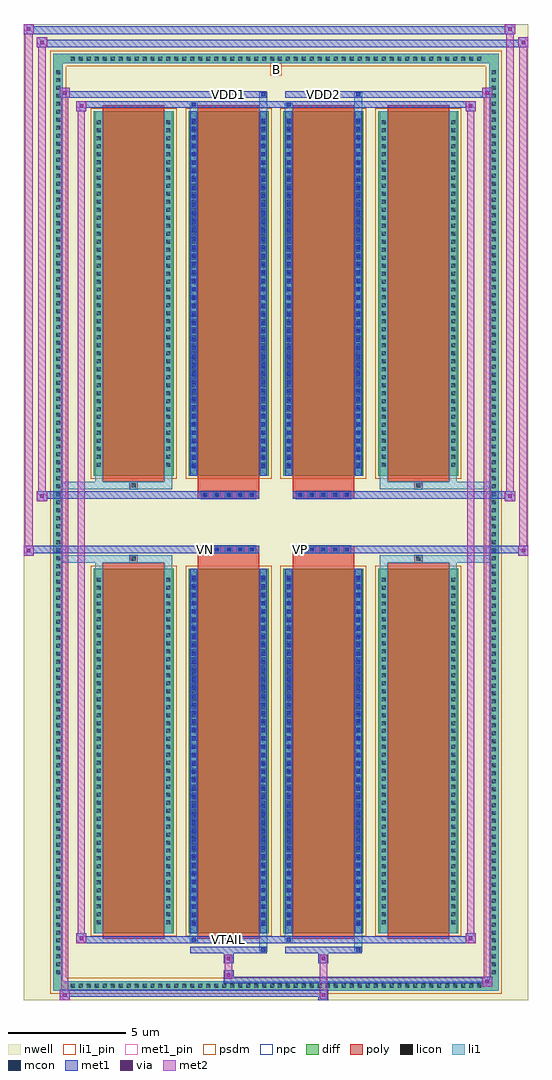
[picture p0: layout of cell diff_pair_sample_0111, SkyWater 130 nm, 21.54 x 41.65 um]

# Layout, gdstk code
import gdstk
lib = gdstk.Library(unit=1e-6, precision=5e-09)
def R(c, l, rs):  # rectangles x0, y0, x1, y1
    for r in rs: c.add(gdstk.rectangle(r[:2], r[2:], *l))
def A(c, l, x, y, w, h, nx, ny, dx, dy):  # array of equal rectangles
    R(c, l, [(x+i*dx, y+j*dy, x+i*dx+w, y+j*dy+h) for i in range(nx) for j in range(ny)])
def P(c, l, *ps):  # polygons
    for p in ps: c.add(gdstk.Polygon(p, *l))
nwell = (64, 20)
diff = (65, 20)
poly = (66, 20)
licon = (66, 44)
li1_pin = (67, 16)
li1 = (67, 20)
mcon = (67, 44)
met1_pin = (68, 16)
met1 = (68, 20)
via = (68, 44)
met2 = (69, 20)
psdm = (94, 20)
npc = (95, 20)

diff_pair_sample_0111 = lib.new_cell('diff_pair_sample_0111')
R(diff_pair_sample_0111, nwell, [(-10.77,-20.39,10.77,21.26), (-8.09,-18.58,-0.01,-0.8), (0.01,-18.58,8.09,-0.8), (-8.09,0.8,-0.01,18.58), (0.01,0.8,8.09,18.58)])
A(diff_pair_sample_0111, diff, -8.875, -19.99, 0.41, 0.41, 52, 2, 0.34, 39.57)
A(diff_pair_sample_0111, diff, -9.5, -19.415, 0.41, 0.41, 1, 114, 0, 0.34)
A(diff_pair_sample_0111, diff, 9.09, -19.415, 0.41, 0.41, 1, 114, 0, 0.34)
A(diff_pair_sample_0111, diff, -7.78, -17.535, 3.41, 15.55, 4, 2, 4.05, 19.52)
R(diff_pair_sample_0111, diff, [(-8.875,-19.99,8.875,-19.58), (-9.5,-19.415,-9.09,19.415), (9.09,-19.415,9.5,19.415), (-8.875,19.58,8.875,19.99)])
P(diff_pair_sample_0111, diff, [(9.5,19.99),(-9.5,19.99),(-9.5,-19.58),(-9.09,-19.58),(-9.09,19.58),(9.09,19.58),(9.09,-19.58),(-9.09,-19.58),(-9.5,-19.58),(-9.5,-19.99),(9.5,-19.99)])
A(diff_pair_sample_0111, poly, -7.39, -17.785, 2.63, 16.05, 4, 2, 4.05, 19.52)
A(diff_pair_sample_0111, poly, -3.19, -1.33, 0.33, 0.33, 5, 2, 0.5, 2.33)
A(diff_pair_sample_0111, poly, 0.86, -1.33, 0.33, 0.33, 5, 2, 0.5, 2.33)
R(diff_pair_sample_0111, poly, [(-6.24,-1.735,-5.91,-1.405), (-6.24,-1.735,-5.91,-1.405), (-3.34,-1.735,-0.71,-1.33), (0.71,-1.735,3.34,-1.33), (5.91,-1.735,6.24,-1.405), (5.91,-1.735,6.24,-1.405), (-3.34,-1.33,-0.71,-1), (0.71,-1.33,3.34,-1), (-3.34,1,-0.71,1.33), (0.71,1,3.34,1.33), (-3.34,1.33,-0.71,1.735), (0.71,1.33,3.34,1.735), (-6.24,1.405,-5.91,1.735), (-6.24,1.405,-5.91,1.735), (5.91,1.405,6.24,1.735), (5.91,1.405,6.24,1.735)])
A(diff_pair_sample_0111, licon, -8.755, -19.87, 0.17, 0.17, 52, 2, 0.34, 39.57)
A(diff_pair_sample_0111, licon, -9.38, -19.295, 0.17, 0.17, 1, 114, 0, 0.34)
A(diff_pair_sample_0111, licon, 9.21, -19.295, 0.17, 0.17, 1, 114, 0, 0.34)
A(diff_pair_sample_0111, licon, -7.64, -17.155, 0.17, 0.17, 1, 44, 0, 0.34)
A(diff_pair_sample_0111, licon, -4.68, -17.155, 0.17, 0.17, 1, 44, 0, 0.34)
A(diff_pair_sample_0111, licon, -3.59, -17.155, 0.17, 0.17, 1, 44, 0, 0.34)
A(diff_pair_sample_0111, licon, -0.63, -17.155, 0.17, 0.17, 1, 44, 0, 0.34)
A(diff_pair_sample_0111, licon, 0.46, -17.155, 0.17, 0.17, 1, 44, 0, 0.34)
A(diff_pair_sample_0111, licon, 3.42, -17.155, 0.17, 0.17, 1, 44, 0, 0.34)
A(diff_pair_sample_0111, licon, 4.51, -17.155, 0.17, 0.17, 1, 44, 0, 0.34)
A(diff_pair_sample_0111, licon, 7.47, -17.155, 0.17, 0.17, 1, 44, 0, 0.34)
A(diff_pair_sample_0111, licon, -3.11, -1.25, 0.17, 0.17, 5, 2, 0.5, 2.33)
A(diff_pair_sample_0111, licon, 0.94, -1.25, 0.17, 0.17, 5, 2, 0.5, 2.33)
A(diff_pair_sample_0111, licon, -7.64, 2.365, 0.17, 0.17, 1, 44, 0, 0.34)
A(diff_pair_sample_0111, licon, -4.68, 2.365, 0.17, 0.17, 1, 44, 0, 0.34)
A(diff_pair_sample_0111, licon, -3.59, 2.365, 0.17, 0.17, 1, 44, 0, 0.34)
A(diff_pair_sample_0111, licon, -0.63, 2.365, 0.17, 0.17, 1, 44, 0, 0.34)
A(diff_pair_sample_0111, licon, 0.46, 2.365, 0.17, 0.17, 1, 44, 0, 0.34)
A(diff_pair_sample_0111, licon, 3.42, 2.365, 0.17, 0.17, 1, 44, 0, 0.34)
A(diff_pair_sample_0111, licon, 4.51, 2.365, 0.17, 0.17, 1, 44, 0, 0.34)
A(diff_pair_sample_0111, licon, 7.47, 2.365, 0.17, 0.17, 1, 44, 0, 0.34)
R(diff_pair_sample_0111, licon, [(-6.16,-1.655,-5.99,-1.485), (5.99,-1.655,6.16,-1.485), (-6.16,1.485,-5.99,1.655), (5.99,1.485,6.16,1.655)])
R(diff_pair_sample_0111, li1_pin, [(-0.25,19.08,0.25,19.58)])
A(diff_pair_sample_0111, li1, -8.835, -19.95, 0.33, 0.33, 52, 2, 0.34, 39.57)
A(diff_pair_sample_0111, li1, -9.46, -19.375, 0.33, 0.33, 1, 114, 0, 0.34)
A(diff_pair_sample_0111, li1, 9.13, -19.375, 0.33, 0.33, 1, 114, 0, 0.34)
A(diff_pair_sample_0111, li1, -7.72, -17.235, 0.33, 0.33, 1, 44, 0, 0.34)
A(diff_pair_sample_0111, li1, -4.76, -17.235, 0.33, 0.33, 1, 44, 0, 0.34)
A(diff_pair_sample_0111, li1, -3.67, -17.235, 0.33, 0.33, 1, 44, 0, 0.34)
A(diff_pair_sample_0111, li1, -0.71, -17.235, 0.33, 0.33, 1, 44, 0, 0.34)
A(diff_pair_sample_0111, li1, 0.38, -17.235, 0.33, 0.33, 1, 44, 0, 0.34)
A(diff_pair_sample_0111, li1, 3.34, -17.235, 0.33, 0.33, 1, 44, 0, 0.34)
A(diff_pair_sample_0111, li1, 4.43, -17.235, 0.33, 0.33, 1, 44, 0, 0.34)
A(diff_pair_sample_0111, li1, 7.39, -17.235, 0.33, 0.33, 1, 44, 0, 0.34)
A(diff_pair_sample_0111, li1, -3.59, -17.225, 0.17, 0.17, 1, 42, 0, 0.36)
A(diff_pair_sample_0111, li1, -0.63, -17.225, 0.17, 0.17, 1, 42, 0, 0.36)
A(diff_pair_sample_0111, li1, 0.46, -17.225, 0.17, 0.17, 1, 42, 0, 0.36)
A(diff_pair_sample_0111, li1, 3.42, -17.225, 0.17, 0.17, 1, 42, 0, 0.36)
A(diff_pair_sample_0111, li1, -3.19, -1.33, 0.33, 0.33, 5, 2, 0.5, 2.33)
A(diff_pair_sample_0111, li1, 0.86, -1.33, 0.33, 0.33, 5, 2, 0.5, 2.33)
A(diff_pair_sample_0111, li1, -7.72, 2.285, 0.33, 0.33, 1, 44, 0, 0.34)
A(diff_pair_sample_0111, li1, -4.76, 2.285, 0.33, 0.33, 1, 44, 0, 0.34)
A(diff_pair_sample_0111, li1, -3.67, 2.285, 0.33, 0.33, 1, 44, 0, 0.34)
A(diff_pair_sample_0111, li1, -0.71, 2.285, 0.33, 0.33, 1, 44, 0, 0.34)
A(diff_pair_sample_0111, li1, 0.38, 2.285, 0.33, 0.33, 1, 44, 0, 0.34)
A(diff_pair_sample_0111, li1, 3.34, 2.285, 0.33, 0.33, 1, 44, 0, 0.34)
A(diff_pair_sample_0111, li1, 4.43, 2.285, 0.33, 0.33, 1, 44, 0, 0.34)
A(diff_pair_sample_0111, li1, 7.39, 2.285, 0.33, 0.33, 1, 44, 0, 0.34)
A(diff_pair_sample_0111, li1, -3.59, 2.295, 0.17, 0.17, 1, 42, 0, 0.36)
A(diff_pair_sample_0111, li1, -0.63, 2.295, 0.17, 0.17, 1, 42, 0, 0.36)
A(diff_pair_sample_0111, li1, 0.46, 2.295, 0.17, 0.17, 1, 42, 0, 0.36)
A(diff_pair_sample_0111, li1, 3.42, 2.295, 0.17, 0.17, 1, 42, 0, 0.36)
R(diff_pair_sample_0111, li1, [(-9.5,-19.99,-9.09,-19.58), (-9.5,-19.99,-9.09,-19.58), (-9.09,-19.99,9.09,-19.58), (9.09,-19.99,9.5,-19.58), (9.09,-19.99,9.5,-19.58), (-9.5,-19.58,-9.09,19.58), (9.09,-19.58,9.5,19.58), (-0.71,-18.34,-0.38,-17.535), (-0.63,-18.34,-0.46,-18.17), (3.34,-18.34,3.67,-17.535), (3.42,-18.34,3.59,-18.17), (-3.67,-17.91,-3.34,-17.535), (-3.59,-17.91,-3.42,-17.74), (0.38,-17.91,0.71,-17.535), (0.46,-17.91,0.63,-17.74), (-7.72,-17.535,-7.39,-1.985), (-4.76,-17.535,-4.43,-1.985), (-3.67,-17.535,-3.34,-1.985), (-0.71,-17.535,-0.38,-1.985), (0.38,-17.535,0.71,-1.985), (3.34,-17.535,3.67,-1.985), (4.43,-17.535,4.76,-1.985), (7.39,-17.535,7.72,-1.985), (-3.59,-17.225,-3.42,-2.295), (-0.63,-17.225,-0.46,-2.295), (0.46,-17.225,0.63,-2.295), (3.42,-17.225,3.59,-2.295), (-7.72,-1.985,-7.39,-1.405), (-4.76,-1.985,-4.43,-1.405), (4.43,-1.985,4.76,-1.405), (7.39,-1.985,7.72,-1.405), (-9.5,-1.735,-6.24,-1.405), (-7.72,-1.735,-6.24,-1.405), (-6.24,-1.735,-5.91,-1.405), (-5.91,-1.735,-4.43,-1.405), (4.43,-1.735,5.91,-1.405), (5.91,-1.735,6.24,-1.405), (5.91,-1.735,9.5,-1.405), (6.24,-1.735,7.72,-1.405), (-9.5,1.405,-6.24,1.735), (-7.72,1.405,-6.24,1.735), (-7.72,1.405,-7.39,1.985), (-6.24,1.405,-5.91,1.735), (-5.91,1.405,-4.43,1.735), (-4.76,1.405,-4.43,1.985), (4.43,1.405,5.91,1.735), (4.43,1.405,4.76,1.985), (5.91,1.405,6.24,1.735), (5.91,1.405,9.5,1.735), (6.24,1.405,7.72,1.735), (7.39,1.405,7.72,1.985), (-7.72,1.985,-7.39,17.535), (-4.76,1.985,-4.43,17.535), (-3.67,1.985,-3.34,17.535), (-0.71,1.985,-0.38,17.535), (0.38,1.985,0.71,17.535), (3.34,1.985,3.67,17.535), (4.43,1.985,4.76,17.535), (7.39,1.985,7.72,17.535), (-3.59,2.295,-3.42,17.225), (-0.63,2.295,-0.46,17.225), (0.46,2.295,0.63,17.225), (3.42,2.295,3.59,17.225), (-3.67,17.535,-3.34,17.91), (-0.71,17.535,-0.38,18.34), (0.38,17.535,0.71,17.91), (3.34,17.535,3.67,18.34), (-3.59,17.74,-3.42,17.91), (0.46,17.74,0.63,17.91), (-0.63,18.17,-0.46,18.34), (3.42,18.17,3.59,18.34), (-9.5,19.58,-9.09,19.99), (-9.5,19.58,-9.09,19.99), (-9.09,19.58,9.09,19.99), (9.09,19.58,9.5,19.99), (9.09,19.58,9.5,19.99)])
A(diff_pair_sample_0111, mcon, -3.59, -17.225, 0.17, 0.17, 1, 42, 0, 0.36)
A(diff_pair_sample_0111, mcon, -0.63, -17.225, 0.17, 0.17, 1, 42, 0, 0.36)
A(diff_pair_sample_0111, mcon, 0.46, -17.225, 0.17, 0.17, 1, 42, 0, 0.36)
A(diff_pair_sample_0111, mcon, 3.42, -17.225, 0.17, 0.17, 1, 42, 0, 0.36)
A(diff_pair_sample_0111, mcon, -3.11, -1.25, 0.17, 0.17, 5, 2, 0.5, 2.33)
A(diff_pair_sample_0111, mcon, 0.94, -1.25, 0.17, 0.17, 5, 2, 0.5, 2.33)
A(diff_pair_sample_0111, mcon, -3.59, 2.295, 0.17, 0.17, 1, 42, 0, 0.36)
A(diff_pair_sample_0111, mcon, -0.63, 2.295, 0.17, 0.17, 1, 42, 0, 0.36)
A(diff_pair_sample_0111, mcon, 0.46, 2.295, 0.17, 0.17, 1, 42, 0, 0.36)
A(diff_pair_sample_0111, mcon, 3.42, 2.295, 0.17, 0.17, 1, 42, 0, 0.36)
R(diff_pair_sample_0111, mcon, [(-0.63,-18.34,-0.46,-18.17), (3.42,-18.34,3.59,-18.17), (-3.59,-17.91,-3.42,-17.74), (0.46,-17.91,0.63,-17.74), (-3.59,17.74,-3.42,17.91), (0.46,17.74,0.63,17.91), (-0.63,18.17,-0.46,18.34), (3.42,18.17,3.59,18.34)])
R(diff_pair_sample_0111, met1_pin, [(-2.16,-17.95,-1.89,-17.68), (-3.16,-1.29,-2.89,-1.02), (0.89,-1.29,1.16,-1.02), (-2.16,18.13,-1.89,18.4), (1.89,18.13,2.16,18.4)])
A(diff_pair_sample_0111, met1, -3.65, -17.285, 0.29, 0.29, 1, 42, 0, 0.36)
A(diff_pair_sample_0111, met1, -0.69, -17.285, 0.29, 0.29, 1, 42, 0, 0.36)
A(diff_pair_sample_0111, met1, 0.4, -17.285, 0.29, 0.29, 1, 42, 0, 0.36)
A(diff_pair_sample_0111, met1, 3.36, -17.285, 0.29, 0.29, 1, 42, 0, 0.36)
A(diff_pair_sample_0111, met1, -3.17, -1.31, 0.29, 0.29, 5, 2, 0.5, 2.33)
A(diff_pair_sample_0111, met1, 0.88, -1.31, 0.29, 0.29, 5, 2, 0.5, 2.33)
A(diff_pair_sample_0111, met1, -3.65, 2.235, 0.29, 0.29, 1, 42, 0, 0.36)
A(diff_pair_sample_0111, met1, -0.69, 2.235, 0.29, 0.29, 1, 42, 0, 0.36)
A(diff_pair_sample_0111, met1, 0.4, 2.235, 0.29, 0.29, 1, 42, 0, 0.36)
A(diff_pair_sample_0111, met1, 3.36, 2.235, 0.29, 0.29, 1, 42, 0, 0.36)
R(diff_pair_sample_0111, met1, [(-9.23,-20.39,-8.8,-19.96), (1.81,-20.39,2.24,-19.96), (-9.23,-20.25,2.24,-19.96), (8.8,-19.82,9.23,-19.39), (-2.24,-19.68,9.23,-19.39), (-2.24,-19.54,-1.81,-19.11), (-2.24,-18.83,-1.81,-18.4), (1.81,-18.83,2.24,-18.4), (-3.65,-18.4,-0.4,-18.11), (-0.69,-18.4,-0.4,-18.11), (0.4,-18.4,3.65,-18.11), (3.36,-18.4,3.65,-18.11), (-8.52,-17.97,-8.09,-17.54), (-8.52,-17.97,-3.65,-17.68), (-3.65,-17.97,-3.36,-17.68), (-3.65,-17.97,-0.4,-17.68), (-0.4,-17.97,0.4,-17.68), (0.4,-17.97,0.69,-17.68), (0.4,-17.97,3.65,-17.68), (3.65,-17.97,8.52,-17.68), (8.09,-17.97,8.52,-17.54), (-3.65,-17.535,-3.36,-1.985), (-0.69,-17.535,-0.4,-1.985), (0.4,-17.535,0.69,-1.985), (3.36,-17.535,3.65,-1.985), (-10.77,-1.43,-10.34,-1), (10.34,-1.43,10.77,-1), (-10.77,-1.33,-0.71,-1), (-3.34,-1.33,-0.71,-1), (0.71,-1.33,3.34,-1), (0.71,-1.33,10.77,-1), (-10.2,0.9,-9.77,1.33), (9.77,0.9,10.2,1.33), (-10.2,1,-3.34,1.33), (-3.34,1,-0.71,1.33), (0.71,1,3.34,1.33), (3.34,1,10.2,1.33), (-3.65,1.985,-3.36,17.535), (-0.69,1.985,-0.4,17.535), (0.4,1.985,0.69,17.535), (3.36,1.985,3.65,17.535), (-8.52,17.54,-8.09,17.97), (8.09,17.54,8.52,17.97), (-8.52,17.68,-3.65,17.97), (-3.65,17.68,-3.36,17.97), (-3.65,17.68,-0.4,17.97), (-0.4,17.68,0.4,17.97), (0.4,17.68,0.69,17.97), (0.4,17.68,3.65,17.97), (3.65,17.68,8.52,17.97), (-9.23,18.11,-8.8,18.54), (-9.23,18.11,-3.65,18.4), (-3.65,18.11,-0.4,18.4), (-0.69,18.11,-0.4,18.4), (0.4,18.11,3.65,18.4), (3.36,18.11,3.65,18.4), (3.65,18.11,9.23,18.4), (8.8,18.11,9.23,18.54), (-10.2,20.26,-9.77,20.69), (-10.2,20.26,-8.09,20.59), (-8.09,20.26,8.09,20.59), (8.09,20.26,10.77,20.59), (10.34,20.26,10.77,20.69), (-10.77,20.83,-10.34,21.26), (-10.77,20.83,-8.09,21.16), (-8.09,20.83,8.09,21.16), (8.09,20.83,10.2,21.16), (9.77,20.83,10.2,21.26)])
R(diff_pair_sample_0111, via, [(-9.09,-20.25,-8.94,-20.1), (1.95,-20.25,2.1,-20.1), (8.94,-19.68,9.09,-19.53), (-2.1,-19.4,-1.95,-19.25), (-2.1,-18.69,-1.95,-18.54), (1.95,-18.69,2.1,-18.54), (-8.38,-17.83,-8.23,-17.68), (8.23,-17.83,8.38,-17.68), (-10.63,-1.29,-10.48,-1.14), (10.48,-1.29,10.63,-1.14), (-10.06,1.04,-9.91,1.19), (9.91,1.04,10.06,1.19), (-8.38,17.68,-8.23,17.83), (8.23,17.68,8.38,17.83), (-9.09,18.25,-8.94,18.4), (8.94,18.25,9.09,18.4), (-10.06,20.4,-9.91,20.55), (10.48,20.4,10.63,20.55), (-10.63,20.97,-10.48,21.12), (9.91,20.97,10.06,21.12)])
R(diff_pair_sample_0111, met2, [(-9.23,-20.39,-8.8,-19.96), (-9.16,-20.39,-8.87,18.54), (-8.87,-20.39,-8.8,-19.96), (-9.18,-20.34,-8.85,-20.01), (1.86,-20.34,2.19,-20.01), (1.86,-20.01,2.19,-18.78), (8.8,-19.82,9.23,-19.39), (8.87,-19.82,9.16,18.54), (9.16,-19.82,9.23,-19.39), (8.85,-19.77,9.18,-19.44), (-2.19,-19.49,-1.86,-19.16), (-2.19,-19.16,-1.86,-18.78), (-2.19,-18.78,-1.86,-18.45), (1.86,-18.78,2.19,-18.45), (-8.52,-17.97,-8.09,-17.54), (-8.45,-17.97,-8.16,17.97), (-8.16,-17.97,-8.09,-17.54), (8.09,-17.97,8.52,-17.54), (8.16,-17.97,8.45,17.97), (8.45,-17.97,8.52,-17.54), (-8.47,-17.92,-8.14,-17.59), (8.14,-17.92,8.47,-17.59), (-10.77,-1.43,-10.34,-1), (-10.72,-1.43,-10.39,21.26), (-10.39,-1.43,-10.34,-1), (10.34,-1.43,10.77,-1), (10.39,-1.43,10.72,20.69), (10.72,-1.43,10.77,-1), (-10.72,-1.38,-10.39,-1.05), (10.39,-1.38,10.72,-1.05), (-10.2,0.9,-9.77,1.33), (-10.15,0.9,-9.82,20.69), (-9.82,0.9,-9.77,1.33), (9.77,0.9,10.2,1.33), (9.82,0.9,10.15,21.26), (10.15,0.9,10.2,1.33), (-10.15,0.95,-9.82,1.28), (9.82,0.95,10.15,1.28), (-8.52,17.54,-8.09,17.97), (-8.16,17.54,-8.09,17.97), (8.09,17.54,8.52,17.97), (8.45,17.54,8.52,17.97), (-8.47,17.59,-8.14,17.92), (8.14,17.59,8.47,17.92), (-9.23,18.11,-8.8,18.54), (-8.87,18.11,-8.8,18.54), (8.8,18.11,9.23,18.54), (9.16,18.11,9.23,18.54), (-9.18,18.16,-8.85,18.49), (8.85,18.16,9.18,18.49), (-10.2,20.26,-9.77,20.69), (-9.82,20.26,-9.77,20.69), (10.34,20.26,10.77,20.69), (10.72,20.26,10.77,20.69), (-10.15,20.31,-9.82,20.64), (10.39,20.31,10.72,20.64), (-10.77,20.83,-10.34,21.26), (-10.39,20.83,-10.34,21.26), (9.77,20.83,10.2,21.26), (10.15,20.83,10.2,21.26), (-10.72,20.88,-10.39,21.21), (9.82,20.88,10.15,21.21)])
A(diff_pair_sample_0111, psdm, -7.91, -17.665, 3.67, 15.81, 4, 2, 4.05, 19.52)
P(diff_pair_sample_0111, psdm, [(9.63,20.12),(-9.63,20.12),(-9.63,-19.45),(-8.96,-19.45),(-8.96,19.45),(8.96,19.45),(8.96,-19.45),(-8.96,-19.45),(-9.63,-19.45),(-9.63,-20.12),(9.63,-20.12)])
A(diff_pair_sample_0111, npc, -3.21, -1.35, 0.37, 0.37, 5, 2, 0.5, 2.33)
A(diff_pair_sample_0111, npc, 0.84, -1.35, 0.37, 0.37, 5, 2, 0.5, 2.33)
R(diff_pair_sample_0111, npc, [(-6.26,-1.755,-5.89,-1.385), (5.89,-1.755,6.26,-1.385), (-3.21,-1.35,-2.34,-0.98), (-3.21,-1.35,-2.34,-0.98), (-2.71,-1.35,-1.84,-0.98), (-2.71,-1.35,-1.84,-0.98), (-2.21,-1.35,-1.34,-0.98), (-2.21,-1.35,-1.34,-0.98), (-1.71,-1.35,-0.84,-0.98), (-1.71,-1.35,-0.84,-0.98), (0.84,-1.35,1.71,-0.98), (0.84,-1.35,1.71,-0.98), (1.34,-1.35,2.21,-0.98), (1.34,-1.35,2.21,-0.98), (1.84,-1.35,2.71,-0.98), (1.84,-1.35,2.71,-0.98), (2.34,-1.35,3.21,-0.98), (2.34,-1.35,3.21,-0.98), (-3.21,0.98,-2.34,1.35), (-3.21,0.98,-2.34,1.35), (-2.71,0.98,-1.84,1.35), (-2.71,0.98,-1.84,1.35), (-2.21,0.98,-1.34,1.35), (-2.21,0.98,-1.34,1.35), (-1.71,0.98,-0.84,1.35), (-1.71,0.98,-0.84,1.35), (0.84,0.98,1.71,1.35), (0.84,0.98,1.71,1.35), (1.34,0.98,2.21,1.35), (1.34,0.98,2.21,1.35), (1.84,0.98,2.71,1.35), (1.84,0.98,2.71,1.35), (2.34,0.98,3.21,1.35), (2.34,0.98,3.21,1.35), (-6.26,1.385,-5.89,1.755), (5.89,1.385,6.26,1.755)])
diff_pair_sample_0111.add(gdstk.Label('VTAIL', (-2.025,-17.815), layer=68, texttype=5))
diff_pair_sample_0111.add(gdstk.Label('VN', (-3.025,-1.155), layer=68, texttype=5))
diff_pair_sample_0111.add(gdstk.Label('VP', (1.025,-1.155), layer=68, texttype=5))
diff_pair_sample_0111.add(gdstk.Label('B', (0,19.33), layer=67, texttype=5))
diff_pair_sample_0111.add(gdstk.Label('VDD2', (2.025,18.265), layer=68, texttype=5))
diff_pair_sample_0111.add(gdstk.Label('VDD1', (-2.025,18.265), layer=68, texttype=5))

lib.write_gds('diff_pair_sample_0111.gds')
